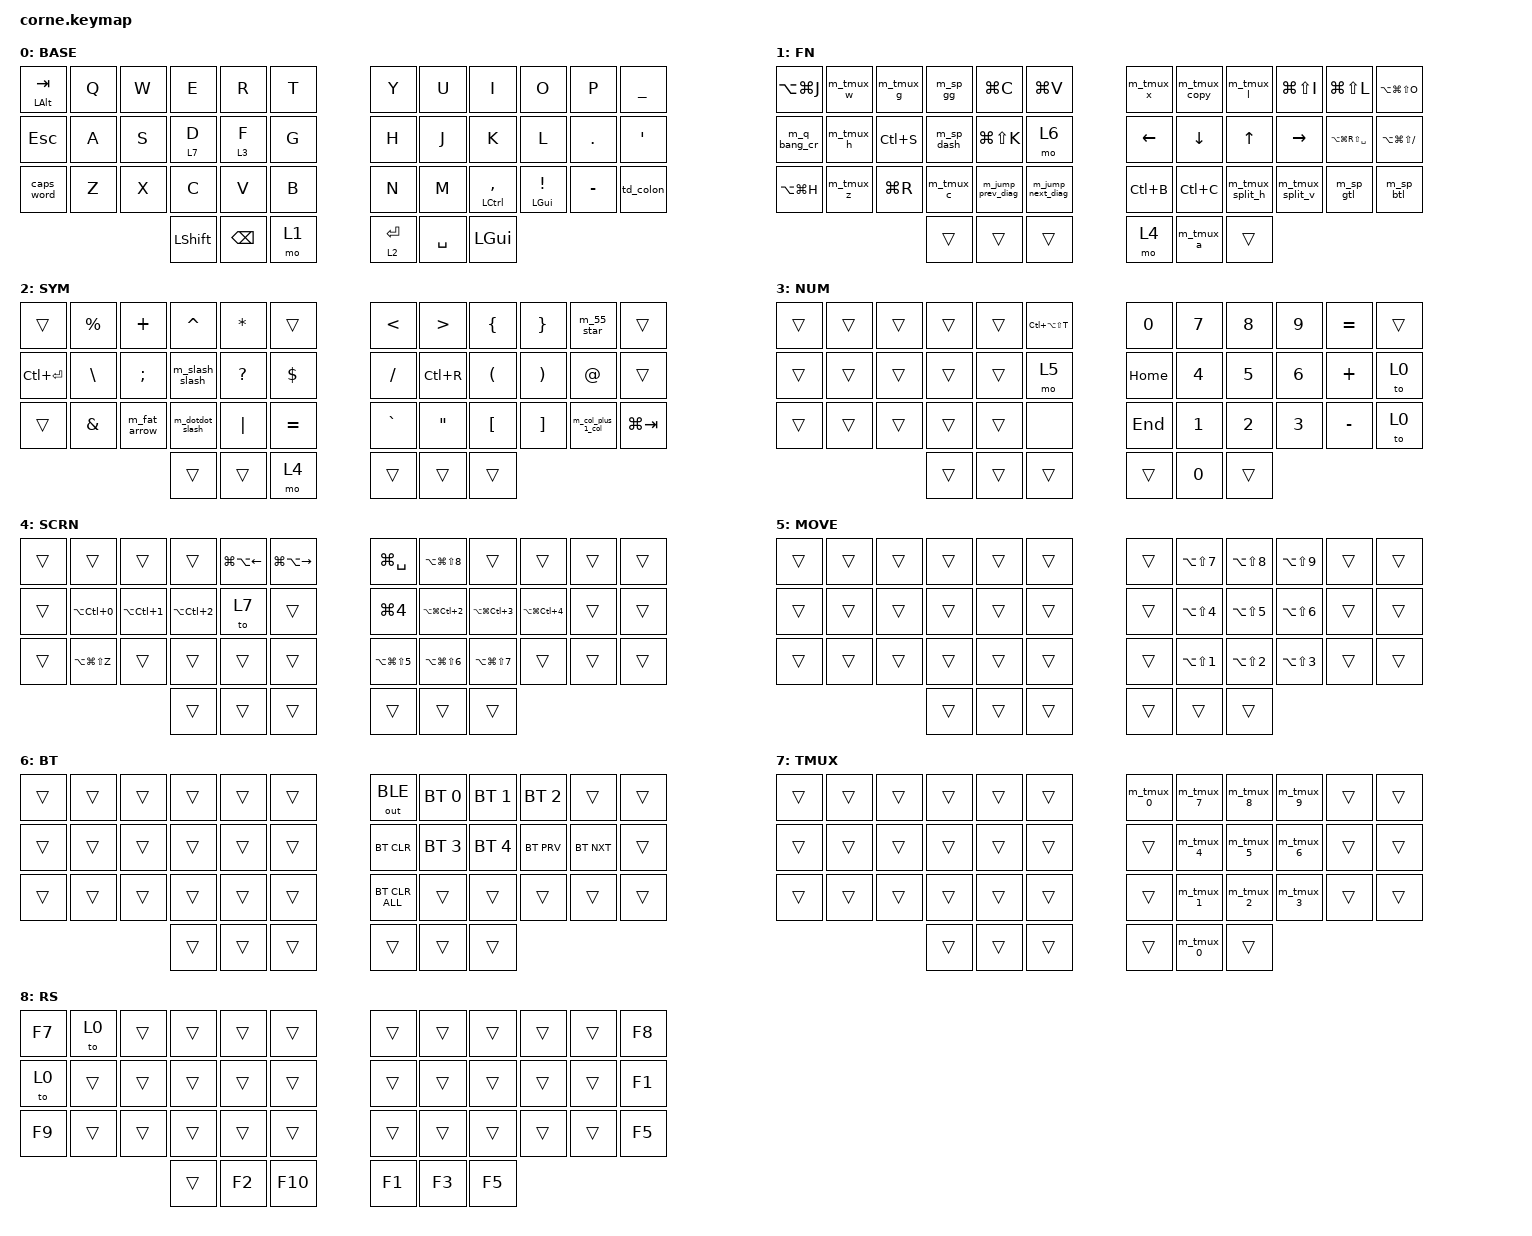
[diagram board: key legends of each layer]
#include <behaviors.dtsi>
#include <dt-bindings/zmk/keys.h>
#include <dt-bindings/zmk/bt.h>
#include <dt-bindings/zmk/outputs.h>

/ {
    behaviors {
        td_colon: td_colon {
            compatible = "zmk,behavior-tap-dance";
            #binding-cells = <0>;
            tapping-term-ms = <200>;
            bindings = <&kp COLON>, <&kp N1>;
        };

        lt_enter: lt_enter {
            compatible = "zmk,behavior-hold-tap";
            #binding-cells = <2>;
            tapping-term-ms = <200>;
            quick-tap-ms = <125>;
            flavor = "hold-preferred";
            bindings = <&mo>, <&kp>;
        };

        lt_homerow: lt_homerow {
            compatible = "zmk,behavior-hold-tap";
            #binding-cells = <2>;
            tapping-term-ms = <200>;
            require-prior-idle-ms = <150>;
            flavor = "balanced";
            hold-trigger-key-positions = <6 7 8 9 10 11 18 19 20 21 22 23 30 31 32 33 34 35 39 40 41>;
            bindings = <&mo>, <&kp>;
        };

        lt_num: lt_num {
            compatible = "zmk,behavior-hold-tap";
            #binding-cells = <2>;
            tapping-term-ms = <200>;
            flavor = "balanced";
            hold-trigger-key-positions = <6 7 8 9 10 11 18 19 20 21 22 23 30 31 32 33 34 35 39 40 41>;
            bindings = <&mo>, <&kp>;
        };

        mt_comma: mt_comma {
            compatible = "zmk,behavior-hold-tap";
            #binding-cells = <2>;
            tapping-term-ms = <200>;
            quick-tap-ms = <125>;
            require-prior-idle-ms = <150>;
            flavor = "balanced";
            hold-trigger-key-positions = <0 1 2 3 4 5 6 7 8 9 10 11 12 13 14 15 16 17 18 19 20 21 22 23 24 25 26 27 28 29 30 31 33 34 35 36 37 38 39 41>;
            hold-trigger-on-release;
            bindings = <&kp>, <&kp>;
        };

    };

    combos {
        compatible = "zmk,combos";

        combo_boot_left {
            timeout-ms = <50>;
            key-positions = <0 5>;
            bindings = <&bootloader>;
            layers = <0>;
        };

        combo_boot_right {
            timeout-ms = <50>;
            key-positions = <6 11>;
            bindings = <&bootloader>;
            layers = <0>;
        };
    };

    macros {
        m_tmux_w: m_tmux_w {
            compatible = "zmk,behavior-macro";
            #binding-cells = <0>;
            wait-ms = <30>;
            tap-ms = <30>;
            bindings = <&kp LC(B)>, <&kp LS(W)>;
        };

        m_tmux_g: m_tmux_g {
            compatible = "zmk,behavior-macro";
            #binding-cells = <0>;
            wait-ms = <30>;
            tap-ms = <30>;
            bindings = <&kp LC(B)>, <&kp G>;
        };

        m_sp_gg: m_sp_gg {
            compatible = "zmk,behavior-macro";
            #binding-cells = <0>;
            wait-ms = <30>;
            tap-ms = <30>;
            bindings = <&kp SPACE>, <&kp G>, <&kp G>;
        };

        m_q_bang_cr: m_q_bang_cr {
            compatible = "zmk,behavior-macro";
            #binding-cells = <0>;
            wait-ms = <30>;
            tap-ms = <30>;
            bindings = <&kp COLON>, <&kp Q>, <&kp EXCL>, <&kp ENTER>;
        };

        m_tmux_h: m_tmux_h {
            compatible = "zmk,behavior-macro";
            #binding-cells = <0>;
            wait-ms = <30>;
            tap-ms = <30>;
            bindings = <&kp LC(B)>, <&kp H>;
        };

        m_sp_dash: m_sp_dash {
            compatible = "zmk,behavior-macro";
            #binding-cells = <0>;
            wait-ms = <30>;
            tap-ms = <30>;
            bindings = <&kp SPACE>, <&kp MINUS>;
        };

        m_tmux_z: m_tmux_z {
            compatible = "zmk,behavior-macro";
            #binding-cells = <0>;
            wait-ms = <30>;
            tap-ms = <30>;
            bindings = <&kp LC(B)>, <&kp Z>;
        };

        m_tmux_c: m_tmux_c {
            compatible = "zmk,behavior-macro";
            #binding-cells = <0>;
            wait-ms = <30>;
            tap-ms = <30>;
            bindings = <&kp LC(B)>, <&kp C>;
        };

        m_jump_prev_diag: m_jump_prev_diag {
            compatible = "zmk,behavior-macro";
            #binding-cells = <0>;
            wait-ms = <30>;
            tap-ms = <30>;
            bindings = <&kp LBKT>, <&kp G>;
        };

        m_jump_next_diag: m_jump_next_diag {
            compatible = "zmk,behavior-macro";
            #binding-cells = <0>;
            wait-ms = <30>;
            tap-ms = <30>;
            bindings = <&kp RBKT>, <&kp G>;
        };

        m_tick_A: m_tick_A {
            compatible = "zmk,behavior-macro";
            #binding-cells = <0>;
            wait-ms = <30>;
            tap-ms = <30>;
            bindings = <&kp GRAVE>, <&kp LS(A)>;
        };

        m_tick_B: m_tick_B {
            compatible = "zmk,behavior-macro";
            #binding-cells = <0>;
            wait-ms = <30>;
            tap-ms = <30>;
            bindings = <&kp GRAVE>, <&kp LS(B)>;
        };

        m_tick_C: m_tick_C {
            compatible = "zmk,behavior-macro";
            #binding-cells = <0>;
            wait-ms = <30>;
            tap-ms = <30>;
            bindings = <&kp GRAVE>, <&kp LS(C)>;
        };

        m_tmux_x: m_tmux_x {
            compatible = "zmk,behavior-macro";
            #binding-cells = <0>;
            wait-ms = <30>;
            tap-ms = <30>;
            bindings = <&kp LC(B)>, <&kp X>;
        };

        m_tmux_copy: m_tmux_copy {
            compatible = "zmk,behavior-macro";
            #binding-cells = <0>;
            wait-ms = <30>;
            tap-ms = <30>;
            bindings = <&kp LC(B)>, <&kp LBKT>;
        };

        m_tmux_l: m_tmux_l {
            compatible = "zmk,behavior-macro";
            #binding-cells = <0>;
            wait-ms = <30>;
            tap-ms = <30>;
            bindings = <&kp LC(B)>, <&kp L>;
        };

        m_tmux_split_h: m_tmux_split_h {
            compatible = "zmk,behavior-macro";
            #binding-cells = <0>;
            wait-ms = <30>;
            tap-ms = <30>;
            bindings = <&kp LC(B)>, <&kp DQT>;
        };

        m_tmux_split_v: m_tmux_split_v {
            compatible = "zmk,behavior-macro";
            #binding-cells = <0>;
            wait-ms = <30>;
            tap-ms = <30>;
            bindings = <&kp LC(B)>, <&kp PRCNT>;
        };

        m_sp_gtl: m_sp_gtl {
            compatible = "zmk,behavior-macro";
            #binding-cells = <0>;
            wait-ms = <30>;
            tap-ms = <30>;
            bindings = <&kp SPACE>, <&kp MINUS>, <&kp G>, <&kp T>, <&kp L>;
        };

        m_sp_btl: m_sp_btl {
            compatible = "zmk,behavior-macro";
            #binding-cells = <0>;
            wait-ms = <30>;
            tap-ms = <30>;
            bindings = <&kp SPACE>, <&kp MINUS>, <&kp B>, <&kp T>, <&kp L>;
        };

        m_slash_slash: m_slash_slash {
            compatible = "zmk,behavior-macro";
            #binding-cells = <0>;
            wait-ms = <30>;
            tap-ms = <30>;
            bindings = <&kp FSLH>, <&kp FSLH>;
        };

        m_fat_arrow: m_fat_arrow {
            compatible = "zmk,behavior-macro";
            #binding-cells = <0>;
            wait-ms = <30>;
            tap-ms = <30>;
            bindings = <&kp EQUAL>, <&kp GT>;
        };

        m_dotdot_slash: m_dotdot_slash {
            compatible = "zmk,behavior-macro";
            #binding-cells = <0>;
            wait-ms = <30>;
            tap-ms = <30>;
            bindings = <&kp DOT>, <&kp DOT>, <&kp FSLH>;
        };

        m_55_star: m_55_star {
            compatible = "zmk,behavior-macro";
            #binding-cells = <0>;
            wait-ms = <30>;
            tap-ms = <30>;
            bindings = <&kp N5>, <&kp N5>, <&kp KP_MULTIPLY>;
        };

        m_col_plus_1_col: m_col_plus_1_col {
            compatible = "zmk,behavior-macro";
            #binding-cells = <0>;
            wait-ms = <30>;
            tap-ms = <30>;
            bindings = <&kp COLON>, <&kp KP_PLUS>, <&kp N1>, <&kp COLON>;
        };

        m_tmux_a: m_tmux_a {
            compatible = "zmk,behavior-macro";
            #binding-cells = <0>;
            wait-ms = <30>;
            tap-ms = <30>;
            bindings = <&kp LC(B)>, <&kp A>;
        };

        m_tmux_0: m_tmux_0 {
            compatible = "zmk,behavior-macro";
            #binding-cells = <0>;
            wait-ms = <30>;
            tap-ms = <30>;
            bindings = <&kp LC(B)>, <&kp N0>;
        };

        m_tmux_1: m_tmux_1 {
            compatible = "zmk,behavior-macro";
            #binding-cells = <0>;
            wait-ms = <30>;
            tap-ms = <30>;
            bindings = <&kp LC(B)>, <&kp N1>;
        };

        m_tmux_2: m_tmux_2 {
            compatible = "zmk,behavior-macro";
            #binding-cells = <0>;
            wait-ms = <30>;
            tap-ms = <30>;
            bindings = <&kp LC(B)>, <&kp N2>;
        };

        m_tmux_3: m_tmux_3 {
            compatible = "zmk,behavior-macro";
            #binding-cells = <0>;
            wait-ms = <30>;
            tap-ms = <30>;
            bindings = <&kp LC(B)>, <&kp N3>;
        };

        m_tmux_4: m_tmux_4 {
            compatible = "zmk,behavior-macro";
            #binding-cells = <0>;
            wait-ms = <30>;
            tap-ms = <30>;
            bindings = <&kp LC(B)>, <&kp N4>;
        };

        m_tmux_5: m_tmux_5 {
            compatible = "zmk,behavior-macro";
            #binding-cells = <0>;
            wait-ms = <30>;
            tap-ms = <30>;
            bindings = <&kp LC(B)>, <&kp N5>;
        };

        m_tmux_6: m_tmux_6 {
            compatible = "zmk,behavior-macro";
            #binding-cells = <0>;
            wait-ms = <30>;
            tap-ms = <30>;
            bindings = <&kp LC(B)>, <&kp N6>;
        };

        m_tmux_7: m_tmux_7 {
            compatible = "zmk,behavior-macro";
            #binding-cells = <0>;
            wait-ms = <30>;
            tap-ms = <30>;
            bindings = <&kp LC(B)>, <&kp N7>;
        };

        m_tmux_8: m_tmux_8 {
            compatible = "zmk,behavior-macro";
            #binding-cells = <0>;
            wait-ms = <30>;
            tap-ms = <30>;
            bindings = <&kp LC(B)>, <&kp N8>;
        };

        m_tmux_9: m_tmux_9 {
            compatible = "zmk,behavior-macro";
            #binding-cells = <0>;
            wait-ms = <30>;
            tap-ms = <30>;
            bindings = <&kp LC(B)>, <&kp N9>;
        };
    };

    keymap {
        compatible = "zmk,keymap";

        default_layer {
            display-name = "BASE";
            bindings = <
&mt LALT TAB  &kp Q  &kp W  &kp E  &kp R  &kp T           &kp Y  &kp U  &kp I            &kp O           &kp P      &kp UNDER
&kp ESC     &kp A  &kp S  &lt_homerow 7 D  &lt_num 3 F      &kp G           &kp H  &kp J  &kp K            &kp L           &kp DOT    &kp SQT
&caps_word  &kp Z  &kp X  &kp C  &kp V  &kp B           &kp N  &kp M  &mt_comma LCTRL COMMA  &mt LGUI EXCL   &kp MINUS  &td_colon
                        &kp LSHFT  &kp BSPC  &mo 1         &lt_enter 2 RET  &kp SPACE  &kp LGUI
            >;
        };

        fn_layer {
            display-name = "FN";
            bindings = <
&kp LA(LG(J))  &m_tmux_w   &m_tmux_g    &m_sp_gg    &kp LG(C)          &kp LG(V)           &m_tmux_x  &m_tmux_copy  &m_tmux_l        &kp LG(LS(I))        &kp LG(LS(L))          &kp LA(LG(LS(O)))
&m_q_bang_cr   &m_tmux_h   &kp LC(S)    &m_sp_dash  &kp LG(LS(K))      &mo 6               &kp LEFT   &kp DOWN      &kp UP           &kp RIGHT        &kp LA(LG(RS(SPACE)))  &kp LA(LG(LS(FSLH)))
&kp LA(LG(H))  &m_tmux_z   &kp LG(R)    &m_tmux_c   &m_jump_prev_diag  &m_jump_next_diag   &kp LC(B)  &kp LC(C)     &m_tmux_split_h  &m_tmux_split_v  &m_sp_gtl              &m_sp_btl
                        &trans  &trans  &trans                                             &mo 4  &m_tmux_a  &trans
            >;
        };

        sym_layer {
            display-name = "SYM";
            bindings = <
&trans       &kp PRCNT  &kp PLUS      &kp CARET        &kp STAR    &trans        &kp LT     &kp GT     &kp LBRC  &kp RBRC  &m_55_star         &trans
&kp LC(RET)  &kp BSLH   &kp SEMI      &m_slash_slash   &kp QMARK   &kp DLLR      &kp FSLH   &kp LC(R)  &kp LPAR  &kp RPAR  &kp AT             &trans
&trans       &kp AMPS   &m_fat_arrow  &m_dotdot_slash  &kp PIPE    &kp EQUAL     &kp GRAVE  &kp DQT    &kp LBKT  &kp RBKT  &m_col_plus_1_col  &kp LG(TAB)
                        &trans  &trans  &mo 4                                    &trans  &trans  &trans
            >;
        };

        num_layer {
            display-name = "NUM";
            bindings = <
&trans  &trans  &trans  &trans  &trans  &kp LC(LA(LS(T)))          &kp N0    &kp N7  &kp N8  &kp N9  &kp EQUAL  &trans
&trans  &trans  &trans  &trans  &trans  &mo 5           &kp HOME  &kp N4  &kp N5  &kp N6  &kp PLUS   &to 0
&trans  &trans  &trans  &trans  &trans  &none           &kp END   &kp N1  &kp N2  &kp N3  &kp MINUS  &to 0
                        &trans  &trans  &trans          &trans  &kp N0  &trans
            >;
        };

        scrn_layer {
            display-name = "SCRN";
            bindings = <
&trans  &trans  &trans  &trans  &kp LG(LA(LEFT))   &kp LG(LA(RIGHT))         &kp LG(SPACE)       &kp LA(LG(LS(N8)))  &trans              &trans              &trans  &trans
&trans  &kp LA(LC(N0))  &kp LA(LC(N1))  &kp LA(LC(N2))  &to 7   &trans          &kp LG(N4)          &kp LA(LG(LC(N2)))  &kp LA(LG(LC(N3)))  &kp LA(LG(LC(N4)))  &trans  &trans
&trans  &kp LA(LG(LS(Z)))  &trans  &trans  &trans  &trans          &kp LA(LG(LS(N5)))  &kp LA(LG(LS(N6)))  &kp LA(LG(LS(N7)))  &trans              &trans  &trans
                        &trans  &trans  &trans          &trans  &trans  &trans
            >;
        };

        move_layer {
            display-name = "MOVE";
            bindings = <
&trans  &trans  &trans  &trans  &trans  &trans          &trans  &kp LA(LS(N7))  &kp LA(LS(N8))  &kp LA(LS(N9))  &trans  &trans
&trans  &trans  &trans  &trans  &trans  &trans          &trans  &kp LA(LS(N4))  &kp LA(LS(N5))  &kp LA(LS(N6))  &trans  &trans
&trans  &trans  &trans  &trans  &trans  &trans          &trans  &kp LA(LS(N1))  &kp LA(LS(N2))  &kp LA(LS(N3))  &trans  &trans
                        &trans  &trans  &trans          &trans  &trans  &trans
            >;
        };

        bt_layer {
            display-name = "BT";
            bindings = <
&trans  &trans  &trans  &trans  &trans  &trans          &out OUT_BLE    &bt BT_SEL 0  &bt BT_SEL 1  &bt BT_SEL 2  &trans      &trans
&trans  &trans  &trans  &trans  &trans  &trans          &bt BT_CLR      &bt BT_SEL 3  &bt BT_SEL 4  &bt BT_PRV    &bt BT_NXT  &trans
&trans  &trans  &trans  &trans  &trans  &trans          &bt BT_CLR_ALL  &trans        &trans        &trans        &trans      &trans
                        &trans  &trans  &trans                                   &trans  &trans  &trans
            >;
        };

        tmux_layer {
            display-name = "TMUX";
            bindings = <
&trans  &trans  &trans  &trans  &trans  &trans          &m_tmux_0  &m_tmux_7  &m_tmux_8  &m_tmux_9  &trans  &trans
&trans  &trans  &trans  &trans  &trans  &trans          &trans     &m_tmux_4  &m_tmux_5  &m_tmux_6  &trans  &trans
&trans  &trans  &trans  &trans  &trans  &trans          &trans     &m_tmux_1  &m_tmux_2  &m_tmux_3  &trans  &trans
                        &trans  &trans  &trans          &trans  &m_tmux_0  &trans
            >;
        };

        runescape_layer {
            display-name = "RS";
            bindings = <
&kp F7  &to 0   &trans  &trans  &trans  &trans          &trans  &trans  &trans  &trans  &trans  &kp F8
&to 0   &trans  &trans  &trans  &trans  &trans          &trans  &trans  &trans  &trans  &trans  &kp F1
&kp F9  &trans  &trans  &trans  &trans  &trans          &trans  &trans  &trans  &trans  &trans  &kp F5
                        &trans  &kp F2  &kp F10          &kp F1  &kp F3  &kp F5
            >;
        };
    };
};
